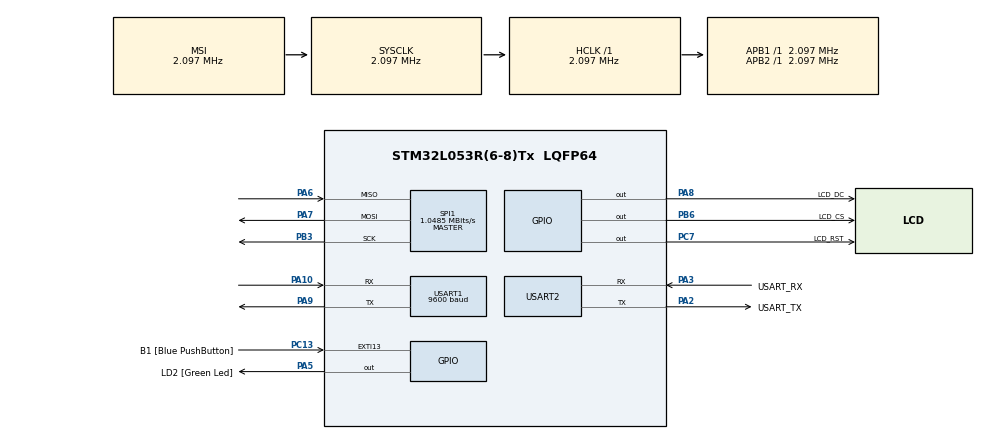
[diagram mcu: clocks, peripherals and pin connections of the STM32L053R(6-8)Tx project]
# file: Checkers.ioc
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Mcu.Family=STM32L0
Mcu.Name=STM32L053R(6-8)Tx
Mcu.Package=LQFP64
PA10.Mode=Asynchronous
PA10.Signal=USART1_RX
PA13.GPIO_Label=TMS
PA13.Mode=Serial_Wire
PA13.Signal=SYS_SWDIO
PA14.GPIO_Label=TCK
PA14.Mode=Serial_Wire
PA14.Signal=SYS_SWCLK
PA2.GPIO_Label=USART_TX
PA2.Mode=Asynchronous
PA2.Signal=USART2_TX
PA3.GPIO_Label=USART_RX
PA3.Mode=Asynchronous
PA3.Signal=USART2_RX
PA5.GPIO_Label=LD2 [Green Led]
PA5.Signal=GPIO_Output
PA6.Mode=Full_Duplex_Master
PA6.Signal=SPI1_MISO
PA7.Mode=Full_Duplex_Master
PA7.Signal=SPI1_MOSI
PA8.GPIO_Label=LCD_DC
PA8.Signal=GPIO_Output
PA9.Mode=Asynchronous
PA9.Signal=USART1_TX
PB3.Mode=Full_Duplex_Master
PB3.Signal=SPI1_SCK
PB6.GPIO_Label=LCD_CS
PB6.Signal=GPIO_Output
PC13.GPIO_Label=B1 [Blue PushButton]
PC13.GPIO_ModeDefaultEXTI=GPIO_MODE_IT_FALLING
PC13.Signal=GPXTI13
PC14-OSC32_IN.Mode=LSE-External-Oscillator
PC14-OSC32_IN.Signal=RCC_OSC32_IN
PC15-OSC32_OUT.Mode=LSE-External-Oscillator
PC15-OSC32_OUT.Signal=RCC_OSC32_OUT
PC7.GPIO_Label=LCD_RST
PC7.Signal=GPIO_Output
PH0-OSC_IN.Mode=HSE-External-Clock-Source
PH0-OSC_IN.Signal=RCC_OSC_IN
PH1-OSC_OUT.Signal=RCC_OSC_OUT
ProjectManager.HeapSize=0x200
ProjectManager.StackSize=0x400
ProjectManager.TargetToolchain=STM32CubeIDE
RCC.AHBFreq_Value=2097000
RCC.APB1Freq_Value=2097000
RCC.APB1TimFreq_Value=2097000
RCC.APB2Freq_Value=2097000
RCC.APB2TimFreq_Value=2097000
RCC.HSE_VALUE=8000000
RCC.HSI16_VALUE=16000000
RCC.HSI48_VALUE=48000000
RCC.HSI_VALUE=16000000
RCC.MSI_VALUE=2097000
RCC.SYSCLKFreq_VALUE=2097000
RCC.VCOOutputFreq_Value=48000000
SPI1.CalculateBaudRate=1.0485 MBits/s
SPI1.Direction=SPI_DIRECTION_2LINES
SPI1.Mode=SPI_MODE_MASTER
SPI1.VirtualType=VM_MASTER
USART1.BaudRate=9600
USART1.VirtualMode-Asynchronous=VM_ASYNC
USART2.VirtualMode-Asynchronous=VM_ASYNC
board=NUCLEO-L053R8

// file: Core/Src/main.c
/* USER CODE BEGIN Header */
/**
  ******************************************************************************
  * @file           : main.c
  * @brief          : Main program body
  ******************************************************************************
  * @attention
  *
  * Copyright (c) 2025 STMicroelectronics.
  * All rights reserved.
  *
  * This software is licensed under terms that can be found in the LICENSE file
  * in the root directory of this software component.
  * If no LICENSE file comes with this software, it is provided AS-IS.
  *
  ******************************************************************************
  */
/* USER CODE END Header */
#include "main.h"

/* USER CODE BEGIN Includes */
#include <retarget.h>
#include <stdio.h>
#include <stdlib.h>
#include <string.h>
#include <stdbool.h>
/* USER CODE END Includes */

/* USER CODE BEGIN PTD */
enum spaceState {
  OCCUPIED,
  EMPTY
};

enum pieceState {
  IN_PLAY,
  CAPTURED
};

enum playerState {
  ACTING,
  WAITING
};

struct BOARD_SPACE{
  char column_letter;
  char row_number;
  enum spaceState SS;
};

struct CHECKER_PIECE{
  struct BOARD_SPACE curr_space;
  struct BOARD_SPACE prev_space;
  bool isKinged;
  enum pieceState PS;
  int color;
};

struct PLAYER{
  struct CHECKER_PIECE player_pieces[12];
  int color;
  int playerNum;
  enum playerState PLS;
};
/* USER CODE END PTD */

/* USER CODE BEGIN PD */
#define DEFAULT_FONT FONT_6X8
#define BUFF_SIZE 1024
/* USER CODE END PD */

SPI_HandleTypeDef hspi1;

UART_HandleTypeDef huart1;
UART_HandleTypeDef huart2;

void SystemClock_Config(void);
static void MX_GPIO_Init(void);
static void MX_USART2_UART_Init(void);
static void MX_SPI1_Init(void);
static void MX_USART1_UART_Init(void);
/* USER CODE BEGIN PFP */
void readFromHostPC( uint32_t timeout);
// things related to WiFi module;
void wifi_esp8266_init(void);
void readFromWiFi( uint32_t timeout, int debug);
void sendCommandToWiFi(char *command, uint32_t timeout, int debug);
void WiFi_module_rename(void);
void concatenate_strings( char *original, char *add);
void clear( char *buff, int len);
void sendHTTPResponse( int connectionId, char *content, int debug);
// Project-specific functions
void InitializeBoard(struct PLAYER p1, struct PLAYER p2);
void MovePiece(struct PLAYER *acting_player, uint8_t piece_num, struct BOARD_SPACE *dest_space);
//Helper functions
bool ValidDirection(struct CHECKER_PIECE *piece, int dist_row);
struct CHECKER_PIECE* PieceAt(struct BOARD_SPACE *space, struct PLAYER *p1, struct PLAYER *p2);
bool HasCaptureFrom(struct CHECKER_PIECE *piece, struct PLAYER *acting_player, struct PLAYER *opponent);
void Promote(struct CHECKER_PIECE *piece, int dst_row);
bool CheckPlayerDefeat(struct PLAYER *player);
int8_t ColumnLetterToIntTranslation(char col_let);
uint8_t PtToInt(char *effect);
/* USER CODE END PFP */

/* USER CODE BEGIN 0 */
char tx_buff_to_HostPC[BUFF_SIZE];
char rx_buff_from_HostPC[BUFF_SIZE];

int wifi_receive_n = 0;

char rx_buff_from_WiFi_module[BUFF_SIZE];
char tx_buff_to_WiFi_module[BUFF_SIZE];

char http_response_buff[BUFF_SIZE];
char *p_http_response;

char AT_cmd_buff[256];
char *p_AT_cmd;

struct BOARD_SPACE game_board[8][8];
struct PLAYER P1;
struct PLAYER P2;
struct PLAYER *P1p = &P1;
struct PLAYER *P2p = &P2;
bool gameIsOver = false;
bool P1_loses = false;
bool P2_loses = false;
uint8_t winning_player;
/* USER CODE END 0 */

int main(void)
{

  /* USER CODE BEGIN 1 */
  char debug_str_buff[30];
  P1.playerNum = 1;
  P2.playerNum = 2;
  P1.color = C_RED;
  P2.color = C_BLUE;

  for(int row = 0; row < 8; row++){
    for(int col = 0; col < 8; col++){
      game_board[row][col].column_letter = col;
      game_board[row][col].row_number = row;
      game_board[row][col].SS = EMPTY;
    }
  }

  char *p_ipd = 0;
  char *p_effect = 0;
  char c; // used to receive characters from wifi module;
  int connectionId = 0; // used to build HTTP response only;
  int debug = 1;

  //Project Pointers
  struct PLAYER *AP; //Acting Player pointer
  uint8_t *moving_piece_idx;
  struct BOARD_SPACE *MTS; //Move To Space pointer
  /* USER CODE END 1 */

  /* MCU Configuration--------------------------------------------------------*/

  /* Reset of all peripherals, Initializes the Flash interface and the Systick. */
  HAL_Init();

  /* Configure the system clock */
  SystemClock_Config();

  /* Initialize all configured peripherals */
  MX_GPIO_Init();
  MX_USART2_UART_Init();
  MX_SPI1_Init();
  MX_USART1_UART_Init();
  /* USER CODE BEGIN 2 */
  RetargetInit(&huart2);
  LCD_init();
  UG_FillScreen(C_BLUE);
  LCD_PutStr(32, 32, "WiFi ESP8266 Module", DEFAULT_FONT, C_YELLOW, C_BLACK);
  LCD_PutStr(32, 48, "Initialization...", DEFAULT_FONT, C_YELLOW, C_BLACK);
  LCD_PutStr(32, 64, "Welcome to Checkers!", DEFAULT_FONT, C_YELLOW, C_BLACK);
  // WiFi ESP8266 module initialization;
  // NOTE: once you run this program on the Nucleo board for the first time, then,
  // you should be ok with commenting out this wifi initialization, so that you do not
  // wait for resetting and all others of the wifi module every time when you rerun the
  // program...
  wifi_esp8266_init();

  // if all went ok so far, the wifi module should be ready for communication at this time...
  // print on the LCD display that wifi module is ready;
  LCD_PutStr(32, 80, "WiFi module ready!", DEFAULT_FONT, C_YELLOW, C_BLACK);
  UG_FillScreen(C_BLACK);
  InitializeBoard(P1, P2);

  /* USER CODE END 2 */

  /* Infinite loop */
  /* USER CODE BEGIN WHILE */
  while (!gameIsOver)
  {

    // in each iteration, we just check on whether the wifi module is receiving anything;
    // and if so, then, we parse what was received in the WiFi receive buffer;
    readFromWiFi(1000, 0);
    wifi_receive_n = strlen( rx_buff_from_WiFi_module);
    if ( wifi_receive_n > 0) {

      c = rx_buff_from_WiFi_module[0];
      if ( c != 0) {

        connectionId = c - 48; // c is received as an ASCII code; subtract 48 (ASCII code of '0') to get the actual number;
        if ( debug == 1) {
          // print to host PC;
          sprintf(tx_buff_to_HostPC, "connectionID: %4d \r\n", connectionId);
          HAL_UART_Transmit(&huart2, (uint8_t*)tx_buff_to_HostPC, strlen(tx_buff_to_HostPC), HAL_MAX_DELAY);
        }

        p_ipd = strstr( (const char *)rx_buff_from_WiFi_module, "+IPD"); // find if the substring "+IPD" occurs in the receive buffer;
        if ( p_ipd != 0) {
          p_effect = strstr( (const char *)rx_buff_from_WiFi_module, "player"); // find if the substring "Player=" occurs in the receive buffer;
          if ( p_effect != 0) {
            //LCD_PutStr(32, 80, "Received via WiFi", DEFAULT_FONT, C_YELLOW, C_BLACK);
            HAL_UART_Transmit(&huart2, (uint8_t*)tx_buff_to_HostPC, strlen(tx_buff_to_HostPC), HAL_MAX_DELAY); //P=2 45 12
            // then, add 2 to the pointer such that we point to the number after the substring, "P" is 2
            p_effect += 7;
            //Check if the player denomination number is valid
            if (*p_effect == '1' || *p_effect == '2'){
              if (*p_effect == '1') {
                AP = &P1;
              } else if (*p_effect == '2') {
                AP = &P2;
              }

              // Shift pointer to piece number
              p_effect = strstr( (const char *)rx_buff_from_WiFi_module, "piece");
              p_effect += 6;
              uint8_t parsedIdx = 0;
              //Check if the parsed index is valid
              if(*p_effect == '0'){
                p_effect += 1;
                parsedIdx = PtToInt(p_effect);
              } else if (*p_effect == '1'){
                p_effect += 1;
                parsedIdx = PtToInt(p_effect) + 10;
              }

              if (parsedIdx < 12 && parsedIdx >= 0){
                //Assign the valid index to the moving piece index pointer
                moving_piece_idx = &parsedIdx;

                p_effect += 2;
                char moveTo_col_let = *p_effect;
                int8_t moveTo_col_num = ColumnLetterToIntTranslation(*p_effect);
                if(moveTo_col_num != -1) {

                  p_effect += 1;
                  uint8_t moveTo_row_num = PtToInt(p_effect);
                  if(moveTo_row_num <= 8 && moveTo_row_num >= 0){
                    //moveTo_row_num -= 1;
                    //Assign the valid move-to space to the move-to-space pointer
                    MTS = &game_board[moveTo_row_num][moveTo_col_num];

                    //Move the appropriate piece
                    MovePiece(AP, *moving_piece_idx, MTS);

                    //Write down the last move performed on the LCD screen
                    sprintf(debug_str_buff, "Pl: %d, Piece: %d, Space: %c%d", AP->playerNum, *moving_piece_idx+1, moveTo_col_let, moveTo_row_num+1);
                    LCD_PutStr(16, 256, debug_str_buff, DEFAULT_FONT, C_WHITE, C_BLACK);
                    if(P1p->PLS == ACTING){
                      sprintf(debug_str_buff, "Player 1's turn");
                    } else {
                      sprintf(debug_str_buff, "Player 2's turn");
                    }
                    LCD_PutStr(16, 272, debug_str_buff, DEFAULT_FONT, C_WHITE, C_BLACK);

                    // print also on serial terminal of host PC;
                    sprintf(tx_buff_to_HostPC, "Move Registered: Player %d, Piece %d, Moved To %c%d \r\n", AP->playerNum, *moving_piece_idx+1, moveTo_col_let, moveTo_row_num+1);
                    HAL_UART_Transmit(&huart2, (uint8_t*)tx_buff_to_HostPC, strlen(tx_buff_to_HostPC), HAL_MAX_DELAY);
                    if(P1p->PLS == ACTING){
                      sprintf(tx_buff_to_HostPC, "Player 1's turn.\r\n\n");
                    } else {
                      sprintf(tx_buff_to_HostPC, "Player 2's turn.\r\n\n");
                    }
                    HAL_UART_Transmit(&huart2, (uint8_t*)tx_buff_to_HostPC, strlen(tx_buff_to_HostPC), HAL_MAX_DELAY);

                    P1_loses = CheckPlayerDefeat(P1p);
                    P2_loses = CheckPlayerDefeat(P2p);
                    if(P1_loses || P2_loses) gameIsOver = true;
                  } else { // received nothing after "effect=" or a wrong command; error;
                    // print also on serial terminal of host PC;
                    sprintf(tx_buff_to_HostPC, "%s", "Received invalid ctrl: BAD ROW\r\n");
                    HAL_UART_Transmit(&huart2, (uint8_t*)tx_buff_to_HostPC, strlen(tx_buff_to_HostPC), HAL_MAX_DELAY);
                    // send back response;
                    sendHTTPResponse(connectionId, "Received invalid ctrl", 1); // debug=1 true;
                  }
                } else { // received nothing after "effect=" or a wrong command; error;
                  // print also on serial terminal of host PC;
                  sprintf(tx_buff_to_HostPC, "%s", "Received invalid ctrl: BAD COL\r\n");
                  HAL_UART_Transmit(&huart2, (uint8_t*)tx_buff_to_HostPC, strlen(tx_buff_to_HostPC), HAL_MAX_DELAY);
                  // send back response;
                  sendHTTPResponse(connectionId, "Received invalid ctrl", 1); // debug=1 true;
                }
              } else { // received nothing after "effect=" or a wrong command; error;
                // print also on serial terminal of host PC;
                sprintf(tx_buff_to_HostPC, "%s", "Received invalid ctrl: BAD PIECE INDEX\r\n");
                HAL_UART_Transmit(&huart2, (uint8_t*)tx_buff_to_HostPC, strlen(tx_buff_to_HostPC), HAL_MAX_DELAY);
                // send back response;
                sendHTTPResponse(connectionId, "Received invalid ctrl", 1); // debug=1 true;
              }
            } else { // received nothing after "effect=" or a wrong command; error;
              // print also on serial terminal of host PC;
              sprintf(tx_buff_to_HostPC, "%s", "Received invalid ctrl: BAD PLAYER NUMBER\r\n");
              HAL_UART_Transmit(&huart2, (uint8_t*)tx_buff_to_HostPC, strlen(tx_buff_to_HostPC), HAL_MAX_DELAY);
              // send back response;
              sendHTTPResponse(connectionId, "Received invalid ctrl", 1); // debug=1 true;
            }
          } else { // if ( p_effect != 0)
            // print also on serial terminal of host PC;
            sprintf(tx_buff_to_HostPC, "%s", "Received invalid ctrl\r\n");
            HAL_UART_Transmit(&huart2, (uint8_t*)tx_buff_to_HostPC, strlen(tx_buff_to_HostPC), HAL_MAX_DELAY);
            // send back response;
            sendHTTPResponse(connectionId, "Received invalid ctrl", 1); // debug=1 true;
          } // if ( p_effect != 0)

        } // if ( p_ipd != 0)
      } // if ( c != 0)
    } // if ( wifi_receive_n > 0)

  } // while(gameIsOver)
  if(P1_loses) {
    winning_player = 2;
  } else if (P2_loses) {
    winning_player = 1;
  }
  sprintf(debug_str_buff, "                          ");
  LCD_PutStr(16, 256, debug_str_buff, DEFAULT_FONT, C_BLACK, C_BLACK);
  sprintf(debug_str_buff, "               ");
  LCD_PutStr(16, 272, debug_str_buff, DEFAULT_FONT, C_BLACK, C_BLACK);

  sprintf(debug_str_buff, "Game Over! Player %d Wins!", winning_player);
  LCD_PutStr(16, 256, debug_str_buff, DEFAULT_FONT, C_WHITE, C_BLACK);
  printf("Game Over! Player %d Wins!\r\n", winning_player);

  /* USER CODE END 3 */
}

void SystemClock_Config(void)
{
  RCC_OscInitTypeDef RCC_OscInitStruct = {0};
  RCC_ClkInitTypeDef RCC_ClkInitStruct = {0};
  RCC_PeriphCLKInitTypeDef PeriphClkInit = {0};

  /** Configure the main internal regulator output voltage
  */
  __HAL_PWR_VOLTAGESCALING_CONFIG(PWR_REGULATOR_VOLTAGE_SCALE1);

  /** Initializes the RCC Oscillators according to the specified parameters
  * in the RCC_OscInitTypeDef structure.
  */
  RCC_OscInitStruct.OscillatorType = RCC_OSCILLATORTYPE_MSI;
  RCC_OscInitStruct.MSIState = RCC_MSI_ON;
  RCC_OscInitStruct.MSICalibrationValue = 0;
  RCC_OscInitStruct.MSIClockRange = RCC_MSIRANGE_5;
  RCC_OscInitStruct.PLL.PLLState = RCC_PLL_NONE;
  if (HAL_RCC_OscConfig(&RCC_OscInitStruct) != HAL_OK)
  {
    Error_Handler();
  }

  /** Initializes the CPU, AHB and APB buses clocks
  */
  RCC_ClkInitStruct.ClockType = RCC_CLOCKTYPE_HCLK|RCC_CLOCKTYPE_SYSCLK
                              |RCC_CLOCKTYPE_PCLK1|RCC_CLOCKTYPE_PCLK2;
  RCC_ClkInitStruct.SYSCLKSource = RCC_SYSCLKSOURCE_MSI;
  RCC_ClkInitStruct.AHBCLKDivider = RCC_SYSCLK_DIV1;
  RCC_ClkInitStruct.APB1CLKDivider = RCC_HCLK_DIV1;
  RCC_ClkInitStruct.APB2CLKDivider = RCC_HCLK_DIV1;

  if (HAL_RCC_ClockConfig(&RCC_ClkInitStruct, FLASH_LATENCY_0) != HAL_OK)
  {
    Error_Handler();
  }
  PeriphClkInit.PeriphClockSelection = RCC_PERIPHCLK_USART1|RCC_PERIPHCLK_USART2;
  PeriphClkInit.Usart1ClockSelection = RCC_USART1CLKSOURCE_PCLK2;
  PeriphClkInit.Usart2ClockSelection = RCC_USART2CLKSOURCE_PCLK1;
  if (HAL_RCCEx_PeriphCLKConfig(&PeriphClkInit) != HAL_OK)
  {
    Error_Handler();
  }
}

static void MX_SPI1_Init(void)
{

  /* SPI1 parameter configuration*/
  hspi1.Instance = SPI1;
  hspi1.Init.Mode = SPI_MODE_MASTER;
  hspi1.Init.Direction = SPI_DIRECTION_2LINES;
  hspi1.Init.DataSize = SPI_DATASIZE_8BIT;
  hspi1.Init.CLKPolarity = SPI_POLARITY_LOW;
  hspi1.Init.CLKPhase = SPI_PHASE_1EDGE;
  hspi1.Init.NSS = SPI_NSS_SOFT;
  hspi1.Init.BaudRatePrescaler = SPI_BAUDRATEPRESCALER_2;
  hspi1.Init.FirstBit = SPI_FIRSTBIT_MSB;
  hspi1.Init.TIMode = SPI_TIMODE_DISABLE;
  hspi1.Init.CRCCalculation = SPI_CRCCALCULATION_DISABLE;
  hspi1.Init.CRCPolynomial = 7;
  if (HAL_SPI_Init(&hspi1) != HAL_OK)
  {
    Error_Handler();
  }

}

static void MX_USART1_UART_Init(void)
{

  /* USER CODE BEGIN USART1_Init 1 */
  //NOTE TO SELF: ALWAYS DOUBLE CHECK THAT BAUD RATE IS CORRECT
  /* USER CODE END USART1_Init 1 */
  huart1.Instance = USART1;
  huart1.Init.BaudRate = 9600;
  huart1.Init.WordLength = UART_WORDLENGTH_8B;
  huart1.Init.StopBits = UART_STOPBITS_1;
  huart1.Init.Parity = UART_PARITY_NONE;
  huart1.Init.Mode = UART_MODE_TX_RX;
  huart1.Init.HwFlowCtl = UART_HWCONTROL_NONE;
  huart1.Init.OverSampling = UART_OVERSAMPLING_16;
  huart1.Init.OneBitSampling = UART_ONE_BIT_SAMPLE_DISABLE;
  huart1.AdvancedInit.AdvFeatureInit = UART_ADVFEATURE_NO_INIT;
  if (HAL_UART_Init(&huart1) != HAL_OK)
  {
    Error_Handler();
  }

}

static void MX_USART2_UART_Init(void)
{

  huart2.Instance = USART2;
  huart2.Init.BaudRate = 115200;
  huart2.Init.WordLength = UART_WORDLENGTH_8B;
  huart2.Init.StopBits = UART_STOPBITS_1;
  huart2.Init.Parity = UART_PARITY_NONE;
  huart2.Init.Mode = UART_MODE_TX_RX;
  huart2.Init.HwFlowCtl = UART_HWCONTROL_NONE;
  huart2.Init.OverSampling = UART_OVERSAMPLING_16;
  huart2.Init.OneBitSampling = UART_ONE_BIT_SAMPLE_DISABLE;
  huart2.AdvancedInit.AdvFeatureInit = UART_ADVFEATURE_NO_INIT;
  if (HAL_UART_Init(&huart2) != HAL_OK)
  {
    Error_Handler();
  }

}

static void MX_GPIO_Init(void)
{
  GPIO_InitTypeDef GPIO_InitStruct = {0};

  /* GPIO Ports Clock Enable */
  __HAL_RCC_GPIOC_CLK_ENABLE();
  __HAL_RCC_GPIOH_CLK_ENABLE();
  __HAL_RCC_GPIOA_CLK_ENABLE();
  __HAL_RCC_GPIOB_CLK_ENABLE();

  /*Configure GPIO pin Output Level */
  HAL_GPIO_WritePin(GPIOA, LD2_Pin|LCD_DC_Pin, GPIO_PIN_RESET);

  /*Configure GPIO pin Output Level */
  HAL_GPIO_WritePin(LCD_RST_GPIO_Port, LCD_RST_Pin, GPIO_PIN_RESET);

  /*Configure GPIO pin Output Level */
  HAL_GPIO_WritePin(LCD_CS_GPIO_Port, LCD_CS_Pin, GPIO_PIN_RESET);

  /*Configure GPIO pin : B1_Pin */
  GPIO_InitStruct.Pin = B1_Pin;
  GPIO_InitStruct.Mode = GPIO_MODE_IT_FALLING;
  GPIO_InitStruct.Pull = GPIO_NOPULL;
  HAL_GPIO_Init(B1_GPIO_Port, &GPIO_InitStruct);

  /*Configure GPIO pins : LD2_Pin LCD_DC_Pin */
  GPIO_InitStruct.Pin = LD2_Pin|LCD_DC_Pin;
  GPIO_InitStruct.Mode = GPIO_MODE_OUTPUT_PP;
  GPIO_InitStruct.Pull = GPIO_NOPULL;
  GPIO_InitStruct.Speed = GPIO_SPEED_FREQ_LOW;
  HAL_GPIO_Init(GPIOA, &GPIO_InitStruct);

  /*Configure GPIO pin : LCD_RST_Pin */
  GPIO_InitStruct.Pin = LCD_RST_Pin;
  GPIO_InitStruct.Mode = GPIO_MODE_OUTPUT_PP;
  GPIO_InitStruct.Pull = GPIO_NOPULL;
  GPIO_InitStruct.Speed = GPIO_SPEED_FREQ_LOW;
  HAL_GPIO_Init(LCD_RST_GPIO_Port, &GPIO_InitStruct);

  /*Configure GPIO pin : LCD_CS_Pin */
  GPIO_InitStruct.Pin = LCD_CS_Pin;
  GPIO_InitStruct.Mode = GPIO_MODE_OUTPUT_PP;
  GPIO_InitStruct.Pull = GPIO_NOPULL;
  GPIO_InitStruct.Speed = GPIO_SPEED_FREQ_LOW;
  HAL_GPIO_Init(LCD_CS_GPIO_Port, &GPIO_InitStruct);

}

/* USER CODE BEGIN 4 */
///////////////////////////////////////////////////////////////////////////////
//
// comm. with host PC via UART2 related functions
//
///////////////////////////////////////////////////////////////////////////////

void readFromHostPC( uint32_t timeout)
{
  // reads from host PC;
  int i = 0;

  // (1) clear receive buffer first;
  for (i = 0; i < BUFF_SIZE; i++) {
    rx_buff_from_HostPC[i] = 0;
  }

  // (2) check if anything was sent from host PC;
  // place received message rx_buff_from_HostPC;
  HAL_UART_Receive(&huart2, (uint8_t *)rx_buff_from_HostPC, BUFF_SIZE, timeout);
}

///////////////////////////////////////////////////////////////////////////////
//
// WiFi module related functions
//
///////////////////////////////////////////////////////////////////////////////

void concatenate_strings( char *original, char *add)
{
  // custom concatenation, without adding the '\0' at the end;
  while (*original != 0) {
    original++;
  }
  while (*add != 0) {
    *original = *add;
    add++;
    original++;
  }
  //*original = '\0';
}

void clear( char *buff, int len)
{
  // generic function to clear array "buff" of characters whose
  // length "len" is already known;
  while ( len > 0) {
    *buff = 0; buff++; len--;
  }
}

void readFromWiFi( uint32_t timeout, int debug)
{
  // reads from the WiFi module if it has received anything;
  int i = 0;

  // (1) clear receive buffer first;
  for (i = 0; i < BUFF_SIZE; i++) {
    rx_buff_from_WiFi_module[i] = 0;
  }

  // (2) check if anything was sent from WiFi module;
  // place received message into rx_buff_from_WiFi_module;
  HAL_UART_Receive(&huart1, (uint8_t *)rx_buff_from_WiFi_module, BUFF_SIZE, timeout);

  // (3) if debug is true, we also print to host PC;
  if (debug) {
    sprintf(tx_buff_to_HostPC, "%s", "\r\n<-------- START received data from WiFi -------->\r\n");
    HAL_UART_Transmit(&huart2, (uint8_t*)tx_buff_to_HostPC, strlen(tx_buff_to_HostPC), HAL_MAX_DELAY);
    strcpy(tx_buff_to_HostPC, rx_buff_from_WiFi_module);
    HAL_UART_Transmit(&huart2, (uint8_t*)tx_buff_to_HostPC, strlen(tx_buff_to_HostPC), HAL_MAX_DELAY);
    sprintf(tx_buff_to_HostPC, "%s", "\r\n>-------- END received data from WiFi --------<\r\n");
    HAL_UART_Transmit(&huart2, (uint8_t*)tx_buff_to_HostPC, strlen(tx_buff_to_HostPC), HAL_MAX_DELAY);
  }
}

void sendCommandToWiFi(char *command, uint32_t timeout, int debug)
{
  int i = 0;
  // (1) clear receive buffer first;
  for (i = 0; i < BUFF_SIZE; i++) {
    rx_buff_from_WiFi_module[i] = 0;
  }

  // (2) send command to WiFi module;
  HAL_UART_Transmit(&huart1, (uint8_t *)command, strlen(command), timeout);

  // (3) check if WiFi module replied with anything; place received message
  // into rx_buff_from_WiFi_module;
  HAL_UART_Receive(&huart1, (uint8_t *)rx_buff_from_WiFi_module, BUFF_SIZE, timeout);

  // (4) if debug is true, we also print to host PC;
  if (debug) {
    sprintf(tx_buff_to_HostPC, "%s", "\r\n<-------- START response to sendCommandToWiFi() -------->\r\n");
    HAL_UART_Transmit(&huart2, (uint8_t*)tx_buff_to_HostPC, strlen(tx_buff_to_HostPC), HAL_MAX_DELAY);
    strcpy(tx_buff_to_HostPC, rx_buff_from_WiFi_module);
    HAL_UART_Transmit(&huart2, (uint8_t*)tx_buff_to_HostPC, strlen(tx_buff_to_HostPC), HAL_MAX_DELAY);
    sprintf(tx_buff_to_HostPC, "%s", "\r\n>-------- END response to sendCommandToWiFi() --------<\r\n");
    HAL_UART_Transmit(&huart2, (uint8_t*)tx_buff_to_HostPC, strlen(tx_buff_to_HostPC), HAL_MAX_DELAY);
  }
}

void wifi_esp8266_init(void)
{
  // this function does some initializations; should be called only once;
  sendCommandToWiFi("AT\r\n", 2000, 1); // timeout of 2000 ms should be enough; debug set to true;
  HAL_Delay(1000);
  sendCommandToWiFi("AT+RST\r\n", 2000, 1); // reset wifi module
  HAL_Delay(1000);
  sendCommandToWiFi("AT+CWMODE=2\r\n", 2000, 1); // configure as access point
  HAL_Delay(1000);
  sendCommandToWiFi("AT+CIFSR\r\n", 2000, 1); // get ip address
  HAL_Delay(1000);
  sendCommandToWiFi("AT+CIPMUX=1\r\n", 2000, 1); // configure for multiple connections
  HAL_Delay(1000);
  sendCommandToWiFi("AT+CIPSERVER=1,80\r\n", 2000, 1); // turn on server on port 80
  HAL_Delay(1000);
}

void sendHTTPResponse( int connectionId, char *content, int debug)
{
  // function that sends HTTP 200, HTML UTF-8 response back to the Android App via the WiFi module;
  // the content argument can be: "Control received: 1" or "Control received: 2" or
  // "Received invalid ctrl" or "Received no ctrl"
  char len[4]; // a sketch small array; used for passing numbers during concatenations;

  // build HTTP response as HTTP Header + content
  p_http_response = http_response_buff; // access elements of http_response_buff via pointer during concatenations;
  clear( http_response_buff, BUFF_SIZE);
  clear( len, 4);
  sprintf( len, "%d", strlen(content));
  concatenate_strings( p_http_response, "HTTP/1.1 200 OK\r\nContent-Type: text/html; charset=UTF-8\r\n");
  concatenate_strings( p_http_response, "Content-Length: ");
  concatenate_strings( p_http_response, len);
  concatenate_strings( p_http_response, "\r\n");
  concatenate_strings( p_http_response, "Connection: close\r\n\r\n");
  concatenate_strings( p_http_response, content);

  // build AT command;
  p_AT_cmd = AT_cmd_buff; // access elements of AT_cmd_buff via pointer during concatenations;
  clear( AT_cmd_buff, 256);
  clear( len, 4);
  sprintf( len, "%d", connectionId );
  concatenate_strings( p_AT_cmd, "AT+CIPSEND="); // "Sends Data" AT command
  concatenate_strings( p_AT_cmd, len);
  concatenate_strings( p_AT_cmd, ",");
  clear( len, 4);
  sprintf( len, "%d", strlen(http_response_buff));
  concatenate_strings( p_AT_cmd, len);
  concatenate_strings( p_AT_cmd, "\r\n");

  // send AT command and HTTP response to wifi module;
  sendCommandToWiFi( AT_cmd_buff, 2000, 1);
  sendCommandToWiFi( http_response_buff, 2000, 1);

  // if debug is true, we also print to host PC;
  if (debug) {
    sprintf(tx_buff_to_HostPC, "%s", "\r\n================== Sent AT Cmd =================\r\n");
    HAL_UART_Transmit(&huart2, (uint8_t*)tx_buff_to_HostPC, strlen(tx_buff_to_HostPC), HAL_MAX_DELAY);
    strcpy(tx_buff_to_HostPC, AT_cmd_buff);
    HAL_UART_Transmit(&huart2, (uint8_t*)tx_buff_to_HostPC, strlen(tx_buff_to_HostPC), HAL_MAX_DELAY);
    sprintf(tx_buff_to_HostPC, "%s", "\r\n=============== Sent HTTP response =============\r\n");
    HAL_UART_Transmit(&huart2, (uint8_t*)tx_buff_to_HostPC, strlen(tx_buff_to_HostPC), HAL_MAX_DELAY);
    strcpy(tx_buff_to_HostPC, http_response_buff);
    HAL_UART_Transmit(&huart2, (uint8_t*)tx_buff_to_HostPC, strlen(tx_buff_to_HostPC), HAL_MAX_DELAY);
    sprintf(tx_buff_to_HostPC, "%s", "\r\n================================================\r\n");
    HAL_UART_Transmit(&huart2, (uint8_t*)tx_buff_to_HostPC, strlen(tx_buff_to_HostPC), HAL_MAX_DELAY);
  }
}

void InitializeBoard(struct PLAYER p1, struct PLAYER p2)
{
  //Draw the board on the LCD
  LCD_DrawCheckerBoard();

  //Initialize of each of the players' pieces' locations, states and colors.
  unsigned int row, col, orientation, piece_idx;
  piece_idx = 0;
  orientation = 1;
  for(row = 0; row < 3;){
    for(col = 0; col < 4;)
    {
      if(orientation == 0){
        p1.player_pieces[piece_idx].curr_space = game_board[row][col*2];
        p1.player_pieces[piece_idx].prev_space = p1.player_pieces[piece_idx].curr_space;
        p1.player_pieces[piece_idx].curr_space.SS = OCCUPIED;
        p1.player_pieces[piece_idx].color = p1.color;
        game_board[row][col*2].SS = OCCUPIED;
      } else {
        p1.player_pieces[piece_idx].curr_space = game_board[row][1+(col*2)];
        p1.player_pieces[piece_idx].prev_space = p1.player_pieces[piece_idx].curr_space;
        p1.player_pieces[piece_idx].curr_space.SS = OCCUPIED;
        p1.player_pieces[piece_idx].color = p1.color;
        game_board[row][1+(col*2)].SS = OCCUPIED;
      }
      p1.player_pieces[piece_idx].isKinged = false;
      //Use temp variables to double check for correct assignment
      char P1_curr_space_col = p1.player_pieces[piece_idx].curr_space.column_letter;
      char P1_curr_space_row = p1.player_pieces[piece_idx].curr_space.row_number;
      bool P1_king_state = p1.player_pieces[piece_idx].isKinged;
      int P1_piece_color = p1.player_pieces[piece_idx].color;
      LCD_DrawCheckerPiece(piece_idx, P1_curr_space_row, P1_curr_space_col, P1_king_state, P1_piece_color);
      // DEBUG LINES
      printf("Player %d, Piece %d, Row %d, Column %d \r\n", p1.playerNum, piece_idx, P1_curr_space_row, P1_curr_space_col);

      piece_idx++;
      col++;
    }
    if(orientation==0){
      orientation = 1;
    } else {
      orientation = 0;
    }
    row++;
  }
  P1 = p1;
  P1.PLS = ACTING;
  piece_idx = 0;
  orientation = 0;
  for(row = 5; row < 8;){
    for(col = 0; col < 4;)
    {
      if(orientation == 0){
        p2.player_pieces[piece_idx].curr_space = game_board[row][col*2];
        p2.player_pieces[piece_idx].prev_space = p2.player_pieces[piece_idx].curr_space;
        p2.player_pieces[piece_idx].curr_space.SS = OCCUPIED;
        p2.player_pieces[piece_idx].color = p2.color;
        game_board[row][col*2].SS = OCCUPIED;
      } else {
        p2.player_pieces[piece_idx].curr_space = game_board[row][1+(col*2)];
        p2.player_pieces[piece_idx].prev_space = p2.player_pieces[piece_idx].curr_space;
        p2.player_pieces[piece_idx].curr_space.SS = OCCUPIED;
        p2.player_pieces[piece_idx].color = p2.color;
        game_board[row][col*2].SS = OCCUPIED;
      }
      p2.player_pieces[piece_idx].isKinged = false;
      //Use temp variables to double check for correct assignment
      char P2_curr_space_col = p2.player_pieces[piece_idx].curr_space.column_letter;
      char P2_curr_space_row = p2.player_pieces[piece_idx].curr_space.row_number;
      bool P2_king_state = p2.player_pieces[piece_idx].isKinged;
      int P2_piece_color = p2.player_pieces[piece_idx].color;
      LCD_DrawCheckerPiece(piece_idx, P2_curr_space_row, P2_curr_space_col, P2_king_state, P2_piece_color);
      // DEBUG LINES
      printf("Player %d, Piece %d, Row %d, Column %d \r\n", p2.playerNum, piece_idx, P2_curr_space_row, P2_curr_space_col);

      piece_idx++;
      col++;
    }
    if(orientation==0){
      orientation = 1;
    } else {
      orientation = 0;
    }
    row++;
  }
  P2 = p2;
  P2.PLS = WAITING;

  printf("\nWelcome to Checkers!\r\n");
  printf("Use your Wi-Fi Serial Adapter application on a wireless device to play!\r\n");
  printf("PLAYER 1: RED, PLAYER 2: BLUE\r\n");
  printf("It is Player 1's turn.\r\n\n");
}

//Note: the "dest_space" must have it's column letter translated before moving into the function.
void MovePiece(struct PLAYER *acting_player, uint8_t piece_num, struct BOARD_SPACE *dest_space)
{
  if(acting_player->PLS == WAITING){
    printf("It is not this player's turn.\r\n");
    return;
  } else {
    struct PLAYER *opponent;
    if(acting_player->color == C_RED){
      opponent = P2p;
    } else {
      opponent = P1p;
    }
    uint8_t piece_idx = piece_num;
    struct CHECKER_PIECE *piece = &acting_player->player_pieces[piece_idx];
    uint8_t src_row = piece->curr_space.row_number;
    uint8_t src_col = piece->curr_space.column_letter;
    uint8_t dest_row = dest_space->row_number;
    uint8_t dest_col = dest_space->column_letter;

    //Measure the distance of the move
    int dist_row = dest_row - src_row;
    int dist_col = dest_col - src_col;
    int abs_dist_row = abs(dist_row);
    int abs_dist_col = abs(dist_col);

    //Regular move process
    if(abs_dist_row == 1 && abs_dist_col == 1) {
      if(game_board[dest_row][dest_col].SS == EMPTY && ValidDirection(piece, dist_row)) {
        //Update the state of the game board spaces occupying the moved piece.
        game_board[src_row][src_col].SS = EMPTY;
        game_board[dest_row][dest_col].SS = OCCUPIED;
        //Move the piece to its new space;
        piece->prev_space = piece->curr_space;
        piece->curr_space = game_board[dest_row][dest_col];
        //Promote piece if it reached its promotion row
        Promote(piece, dest_row);
        //Create local variables to reduce cluttering.
        int prev_piece_row = piece->prev_space.row_number;
        int prev_piece_column = piece->prev_space.column_letter;
        char new_piece_row = piece->curr_space.row_number;
        char new_piece_column = piece->curr_space.column_letter;
        bool piece_king_state = piece->isKinged;
        //Redraw the piece onto the new space.
        LCD_EraseCheckerPiece(prev_piece_row, prev_piece_column);
        LCD_DrawCheckerPiece(piece_idx, new_piece_row, new_piece_column, piece_king_state, piece->color);
      } else {
        printf("Cannot move to this space: Row %d, Column %d\r\n", dest_space->row_number, dest_space->column_letter);
        printf("Space is either occupied, direction is invalid, or\r\n");
        printf("the moving piece has been captured.\r\n");
        return;
      }//Empty space and valid direction check
    } else if(abs_dist_row == 2 && abs_dist_col == 2) {
      int mid_row = src_row + dist_row/2;
      int mid_col = src_col + dist_col/2;
      struct BOARD_SPACE *mid = &game_board[mid_row][mid_col];
      if (mid->SS == OCCUPIED && PieceAt(mid, P1p, P2p)->color != acting_player->color && game_board[dest_row][dest_col].SS == EMPTY && ValidDirection(piece, dist_row)) {
        //Capture and remove piece in mid
        struct CHECKER_PIECE *captured = PieceAt(mid, P1p, P2p);
        captured->PS = CAPTURED;
        game_board[mid_row][mid_col].SS = EMPTY;
        LCD_EraseCheckerPiece(mid_row, mid_col);
        //Move the capturing piece to its new space
        game_board[src_row][src_col].SS = EMPTY;
        game_board[dest_row][dest_col].SS = OCCUPIED;
        piece->prev_space = piece->curr_space;
        piece->curr_space = game_board[dest_row][dest_col];
        Promote(piece, dest_row);
        //Create local variables to reduce cluttering.
        int prev_piece_row = piece->prev_space.row_number;
        int prev_piece_column = piece->prev_space.column_letter;
        char new_piece_row = piece->curr_space.row_number;
        char new_piece_column = piece->curr_space.column_letter;
        bool piece_king_state = piece->isKinged;
        //Redraw the piece onto the new space.
        LCD_EraseCheckerPiece(prev_piece_row, prev_piece_column);
        LCD_DrawCheckerPiece(piece_idx, new_piece_row, new_piece_column, piece_king_state, piece->color);
        //Check if capturing piece has additional captures from new position
        if (HasCaptureFrom(piece, acting_player, opponent)) {
          printf("The acting player still has another capture they can perform!\r\n");
          return;
        }
      } else {
        printf("Cannot move to this space: Row %d, Column %d\r\n", dest_space->row_number, dest_space->column_letter);
        printf("Space is either occupied, direction is invalid,\r\n");
        printf("there is no opponent piece in the middle, or\r\n");
        printf("the capturing piece is of the same color as the piece in the middle.");
        return;
      }
      //Mid piece check
    }//Capture check
    if(acting_player->color == C_RED) {
      P1.PLS = WAITING;
      P2.PLS = ACTING;
    } else {
      P1.PLS = ACTING;
      P2.PLS = WAITING;
    }
    return;
  }//Acting player check
}

/* Helper Functions */

//Returns true if a piece is moving in a valid direction, and false otherwise.
bool ValidDirection(struct CHECKER_PIECE *piece, int dist_row){
  //Kinged pieces can move in all directions
  if(piece->isKinged) return true;

  //Captured pieces can't move
  if(piece->PS == CAPTURED) {
    printf("This piece has been captured.\r\n\n");
    return false;
  }

  //P1's pieces can only move down
  if(piece->color == C_RED){
    return (dist_row > 0);
  } else {
    return (dist_row < 0);
  }
}

//Returns the address of the piece at the identified space pointer.
struct CHECKER_PIECE* PieceAt(struct BOARD_SPACE *space, struct PLAYER *p1, struct PLAYER *p2) {
  if(game_board[(int)space->row_number][(int)space->column_letter].SS == EMPTY){
    return NULL;
  } else {
    // Search both players' pieces for the piece at the space denoted in the space pointer
    for (int i = 0; i < 12; i++) {
        if (p1->player_pieces[i].PS == IN_PLAY &&
            p1->player_pieces[i].curr_space.row_number == space->row_number &&
            p1->player_pieces[i].curr_space.column_letter == space->column_letter) {
            return &p1->player_pieces[i];
        }
        if (p2->player_pieces[i].PS == IN_PLAY &&
            p2->player_pieces[i].curr_space.row_number == space->row_number &&
            p2->player_pieces[i].curr_space.column_letter == space->column_letter) {
            return &p2->player_pieces[i];
        }
    }
  }
  return NULL; // return NULL if the space contains no piece
}

bool HasCaptureFrom(struct CHECKER_PIECE *piece, struct PLAYER *acting_player, struct PLAYER *opponent) {
  int r = piece->curr_space.row_number;
  int c = piece->curr_space.column_letter;

  // Four diagonal directions
  int dirs[4][2] = { {2,2}, {2,-2}, {-2,2}, {-2,-2} };

  for (int i = 0; i < 4; i++) {
    int dr = dirs[i][0];
    int dc = dirs[i][1];
    int dst_r = r + dr;
    int dst_c = c + dc;
    int mid_r = r + dr/2;
    int mid_c = c + dc/2;

    // Bounds check
    if (dst_r < 0 || dst_r > 7 || dst_c < 0 || dst_c > 7) {
      // Destination must be empty
      if (game_board[dst_r][dst_c].SS != EMPTY) {
        // Middle square must contain opponent piece
        struct BOARD_SPACE *mid = &game_board[mid_r][mid_c];
        struct CHECKER_PIECE *captured = PieceAt(mid, acting_player, opponent);
        if (captured && captured->PS == IN_PLAY && captured->color != acting_player->color) {
          if (ValidDirection(piece, dr)) return true;
        }
      } // Destination empty
    } // Bounds valid
  } //for loop
  return false;
}

//Promotes a piece to King.
void Promote(struct CHECKER_PIECE *piece, int dst_row) {
  // Player 1 promotes at row 7
  if (piece->curr_space.row_number == 7 && piece->isKinged == false) {
      piece->isKinged = true;
      printf("Piece promoted to King!\r\n");
  }
  // Player 2 promotes at row 0
  if (piece->curr_space.row_number == 0 && piece->isKinged == false) {
      piece->isKinged = true;
      printf("Piece promoted to King!\r\n");
  }
}

bool CheckPlayerDefeat(struct PLAYER *player) {
  // Search a players' pieces to see if they have no more pieces "in-play", and have thus lost the game.
  for (int i = 0; i < 12; i++) {
    if (player->player_pieces[i].PS == IN_PLAY) {
      return false;
    }
  }
  return true;
}

int8_t ColumnLetterToIntTranslation(char col_let){
  int translated_int;
  switch(col_let)
  {
    case 'a':
      translated_int = 0;
      break;
    case 'b':
      translated_int = 1;
      break;
    case 'c':
      translated_int = 2;
      break;
    case 'd':
      translated_int = 3;
      break;
    case 'e':
      translated_int = 4;
      break;
    case 'f':
      translated_int = 5;
      break;
    case 'g':
      translated_int = 6;
      break;
    case 'h':
      translated_int = 7;
      break;
    default:
      translated_int = -1;
  }
  return translated_int;
}

uint8_t PtToInt(char *effect){
  int translated_int; // add one to the int after changing it when focusing one the pieces

  switch (*effect)
    {
      case '1':
        translated_int = 0;
        break;
      case '2':
        translated_int = 1;
        break;
      case '3':
        translated_int = 2;
        break;
      case '4':
        translated_int = 3;
        break;
      case '5':
        translated_int = 4;
        break;
      case '6':
        translated_int = 5;
        break;
      case '7':
        translated_int = 6;
        break;
      case '8':
        translated_int = 7;
        break;
      case '9':
        translated_int = 8;
        break;

      default:
        translated_int = -1;
    }
  return translated_int;
}

/* USER CODE END 4 */

void Error_Handler(void)
{
  __disable_irq();
  while (1)
  {
  }
}
